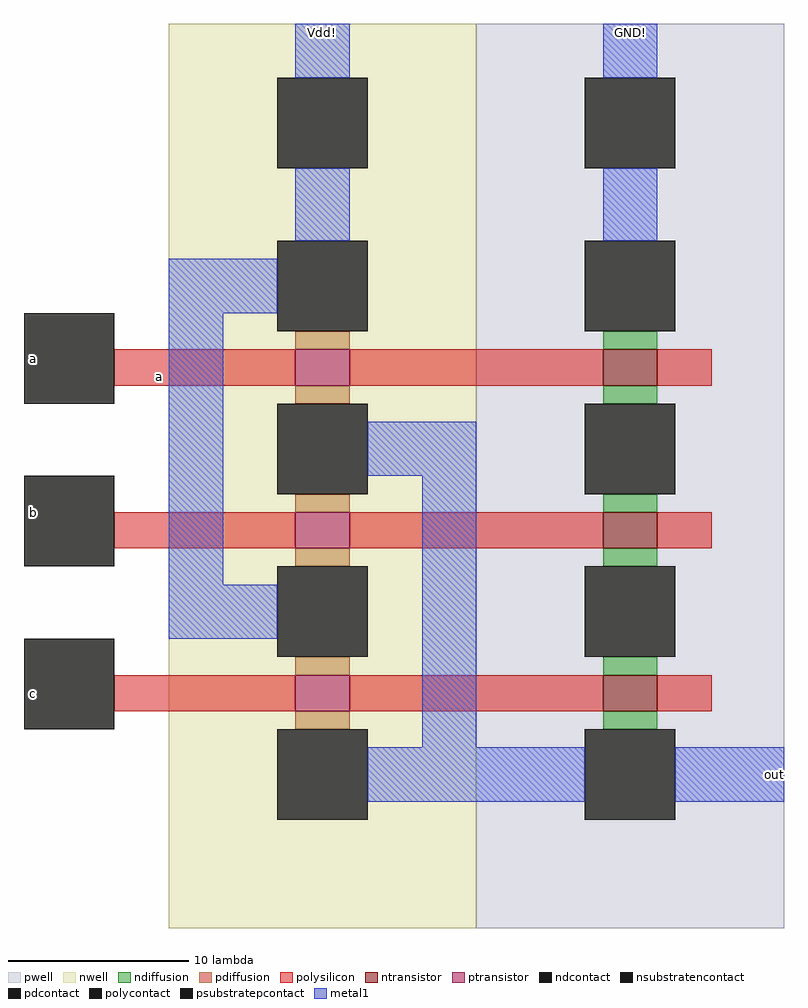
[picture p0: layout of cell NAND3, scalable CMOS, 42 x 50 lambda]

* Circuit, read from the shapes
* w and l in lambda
.subckt NAND3 GND! Vdd! a b c out
M1 n1 c out GND! nfet w=3 l=2
M2 n2 b n1 GND! nfet w=3 l=2
M3 GND! a n2 GND! nfet w=3 l=2
M4 Vdd! c out Vdd! pfet w=3 l=2
M5 out b Vdd! Vdd! pfet w=3 l=2
M6 Vdd! a out Vdd! pfet w=3 l=2
.ends

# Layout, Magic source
magic
tech scmos
<< nwell >>
rect -7 -28 10 22
<< pwell >>
rect 10 -28 27 22
<< ntransistor >>
rect 17 2 20 4
rect 17 -7 20 -5
rect 17 -16 20 -14
<< ptransistor >>
rect 0 2 3 4
rect 0 -7 3 -5
rect 0 -16 3 -14
<< ndiffusion >>
rect 17 4 20 5
rect 17 1 20 2
rect 17 -5 20 -4
rect 17 -8 20 -7
rect 17 -14 20 -13
rect 17 -17 20 -16
<< pdiffusion >>
rect 0 4 3 5
rect 0 1 3 2
rect 0 -5 3 -4
rect 0 -8 3 -7
rect 0 -14 3 -13
rect 0 -17 3 -16
<< ndcontact >>
rect 16 5 21 10
rect 16 -4 21 1
rect 16 -13 21 -8
rect 16 -22 21 -17
<< pdcontact >>
rect -1 5 4 10
rect -1 -4 4 1
rect -1 -13 4 -8
rect -1 -22 4 -17
<< psubstratepcontact >>
rect 16 14 21 19
<< nsubstratencontact >>
rect -1 14 4 19
<< polysilicon >>
rect -10 2 0 4
rect 3 2 17 4
rect 20 2 23 4
rect -10 -7 0 -5
rect 3 -7 17 -5
rect 20 -7 23 -5
rect -10 -16 0 -14
rect 3 -16 17 -14
rect 20 -16 23 -14
<< polycontact >>
rect -15 1 -10 6
rect -15 -8 -10 -3
rect -15 -17 -10 -12
<< metal1 >>
rect 0 19 3 22
rect 17 19 20 22
rect 0 10 3 14
rect 17 10 20 14
rect -7 6 -1 9
rect -7 -9 -4 6
rect 4 -3 10 0
rect -7 -12 -1 -9
rect 7 -18 10 -3
rect 4 -21 16 -18
rect 21 -21 27 -18
<< labels >>
rlabel metal1 1 21 2 22 5 Vdd!
rlabel metal1 18 21 19 22 1 GND!
rlabel polysilicon -8 2 -7 3 3 a
rlabel polycontact -15 -16 -14 -14 3 c
rlabel polycontact -15 -6 -14 -4 3 b
rlabel metal1 26 -20 27 -19 7 out
rlabel polycontact -15 3 -14 4 3 a
<< end >>
